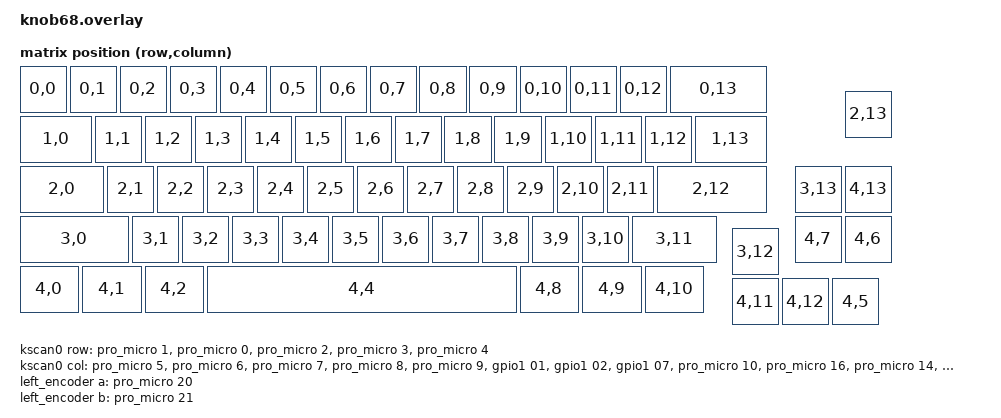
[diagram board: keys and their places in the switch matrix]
/*
 * Copyright (c) 2020 The ZMK Contributors
 *
 * SPDX-License-Identifier: MIT
 */

#include <dt-bindings/zmk/matrix_transform.h>
#include <physical_layouts.dtsi>

/ {
    chosen {
        zmk,kscan = &kscan0;
		zmk,physical-layout = &knob68_layout;
    };

    // Physical layout for ZMK Studio. Key order must match the transform map
    // below. Units are 1/100 keyunit; geometry is a close approximation.
    knob68_layout: knob68_layout {
        compatible = "zmk,physical-layout";
        display-name = "Knob68";
        transform = <&default_transform>;

        keys  //                     w   h    x    y   rot  rx  ry
            = <&key_physical_attrs 100 100    0    0    0    0   0>
            , <&key_physical_attrs 100 100  100    0    0    0   0>
            , <&key_physical_attrs 100 100  200    0    0    0   0>
            , <&key_physical_attrs 100 100  300    0    0    0   0>
            , <&key_physical_attrs 100 100  400    0    0    0   0>
            , <&key_physical_attrs 100 100  500    0    0    0   0>
            , <&key_physical_attrs 100 100  600    0    0    0   0>
            , <&key_physical_attrs 100 100  700    0    0    0   0>
            , <&key_physical_attrs 100 100  800    0    0    0   0>
            , <&key_physical_attrs 100 100  900    0    0    0   0>
            , <&key_physical_attrs 100 100 1000    0    0    0   0>
            , <&key_physical_attrs 100 100 1100    0    0    0   0>
            , <&key_physical_attrs 100 100 1200    0    0    0   0>
            , <&key_physical_attrs 200 100 1300    0    0    0   0>
            , <&key_physical_attrs 100 100 1650   50    0    0   0>
            , <&key_physical_attrs 150 100    0  100    0    0   0>
            , <&key_physical_attrs 100 100  150  100    0    0   0>
            , <&key_physical_attrs 100 100  250  100    0    0   0>
            , <&key_physical_attrs 100 100  350  100    0    0   0>
            , <&key_physical_attrs 100 100  450  100    0    0   0>
            , <&key_physical_attrs 100 100  550  100    0    0   0>
            , <&key_physical_attrs 100 100  650  100    0    0   0>
            , <&key_physical_attrs 100 100  750  100    0    0   0>
            , <&key_physical_attrs 100 100  850  100    0    0   0>
            , <&key_physical_attrs 100 100  950  100    0    0   0>
            , <&key_physical_attrs 100 100 1050  100    0    0   0>
            , <&key_physical_attrs 100 100 1150  100    0    0   0>
            , <&key_physical_attrs 100 100 1250  100    0    0   0>
            , <&key_physical_attrs 150 100 1350  100    0    0   0>
            , <&key_physical_attrs 175 100    0  200    0    0   0>
            , <&key_physical_attrs 100 100  175  200    0    0   0>
            , <&key_physical_attrs 100 100  275  200    0    0   0>
            , <&key_physical_attrs 100 100  375  200    0    0   0>
            , <&key_physical_attrs 100 100  475  200    0    0   0>
            , <&key_physical_attrs 100 100  575  200    0    0   0>
            , <&key_physical_attrs 100 100  675  200    0    0   0>
            , <&key_physical_attrs 100 100  775  200    0    0   0>
            , <&key_physical_attrs 100 100  875  200    0    0   0>
            , <&key_physical_attrs 100 100  975  200    0    0   0>
            , <&key_physical_attrs 100 100 1075  200    0    0   0>
            , <&key_physical_attrs 100 100 1175  200    0    0   0>
            , <&key_physical_attrs 225 100 1275  200    0    0   0>
            , <&key_physical_attrs 100 100 1550  200    0    0   0>
            , <&key_physical_attrs 100 100 1650  200    0    0   0>
            , <&key_physical_attrs 225 100    0  300    0    0   0>
            , <&key_physical_attrs 100 100  225  300    0    0   0>
            , <&key_physical_attrs 100 100  325  300    0    0   0>
            , <&key_physical_attrs 100 100  425  300    0    0   0>
            , <&key_physical_attrs 100 100  525  300    0    0   0>
            , <&key_physical_attrs 100 100  625  300    0    0   0>
            , <&key_physical_attrs 100 100  725  300    0    0   0>
            , <&key_physical_attrs 100 100  825  300    0    0   0>
            , <&key_physical_attrs 100 100  925  300    0    0   0>
            , <&key_physical_attrs 100 100 1025  300    0    0   0>
            , <&key_physical_attrs 100 100 1125  300    0    0   0>
            , <&key_physical_attrs 175 100 1225  300    0    0   0>
            , <&key_physical_attrs 100 100 1425  325    0    0   0>
            , <&key_physical_attrs 100 100 1550  300    0    0   0>
            , <&key_physical_attrs 100 100 1650  300    0    0   0>
            , <&key_physical_attrs 125 100    0  400    0    0   0>
            , <&key_physical_attrs 125 100  125  400    0    0   0>
            , <&key_physical_attrs 125 100  250  400    0    0   0>
            , <&key_physical_attrs 625 100  375  400    0    0   0>
            , <&key_physical_attrs 125 100 1000  400    0    0   0>
            , <&key_physical_attrs 125 100 1125  400    0    0   0>
            , <&key_physical_attrs 125 100 1250  400    0    0   0>
            , <&key_physical_attrs 100 100 1425  425    0    0   0>
            , <&key_physical_attrs 100 100 1525  425    0    0   0>
            , <&key_physical_attrs 100 100 1625  425    0    0   0>
            ;
    };
	
	kscan0: kscan_0 {
        compatible = "zmk,kscan-gpio-matrix";
        label = "KSCAN";
        diode-direction = "col2row";

        col-gpios
            = <&pro_micro 5 GPIO_ACTIVE_HIGH> // col 0
            , <&pro_micro 6 GPIO_ACTIVE_HIGH> // col 1
            , <&pro_micro 7 GPIO_ACTIVE_HIGH> // col 2
            , <&pro_micro 8 GPIO_ACTIVE_HIGH> // col 3
            , <&pro_micro 9 GPIO_ACTIVE_HIGH> // col 4
            , <&gpio1 01 (GPIO_ACTIVE_HIGH | GPIO_PULL_DOWN)> // col 5
            , <&gpio1 02 (GPIO_ACTIVE_HIGH | GPIO_PULL_DOWN)>  // col 6
            , <&gpio1 07 (GPIO_ACTIVE_HIGH | GPIO_PULL_DOWN)> // col 7
			, <&pro_micro 10 GPIO_ACTIVE_HIGH> // col 8
			, <&pro_micro 16 GPIO_ACTIVE_HIGH>// col 9
            , <&pro_micro 14 GPIO_ACTIVE_HIGH> // col 10
            , <&pro_micro 15 GPIO_ACTIVE_HIGH> // col 11
            , <&pro_micro 18 GPIO_ACTIVE_HIGH> // col 12
            , <&pro_micro 19 GPIO_ACTIVE_HIGH> // col 13
            ;

        row-gpios
            = <&pro_micro 1 (GPIO_ACTIVE_HIGH | GPIO_PULL_DOWN)> // row 0
            , <&pro_micro 0 (GPIO_ACTIVE_HIGH | GPIO_PULL_DOWN)> // row 1
            , <&pro_micro 2 (GPIO_ACTIVE_HIGH | GPIO_PULL_DOWN)> // row 2
            , <&pro_micro 3 (GPIO_ACTIVE_HIGH | GPIO_PULL_DOWN)> // row 3
            , <&pro_micro 4 (GPIO_ACTIVE_HIGH | GPIO_PULL_DOWN)> // row 4
            ;
    };
	
    default_transform: keymap_transform_0 {
        compatible = "zmk,matrix-transform";
        columns = <15>;
        rows = <5>;
// 69 key positions: a 65% base plus a right-hand cluster column and the encoder push.
// The cluster keys are wired on spare matrix positions, hence the out-of-order RC() refs.
// ---------------------------------------------------------------------------------------------------------
// | 0,0  | 0,1 | 0,2 | 0,3 | 0,4 | 0,5 | 0,6 | 0,7 | 0,8 | 0,9 | 0,10 | 0,11 | 0,12 | 0,13  || KNOB: 2,13 |
// | 1,0   | 1,1 | 1,2 | 1,3 | 1,4 | 1,5 | 1,6 | 1,7 | 1,8 | 1,9 | 1,10 | 1,11 | 1,12 | 1,13 |
// | 2,0    | 2,1 | 2,2 | 2,3 | 2,4 | 2,5 | 2,6 | 2,7 | 2,8 | 2,9 | 2,10 | 2,11 |    2,12    || 3,13 | 4,13 |
// | 3,0      | 3,1 | 3,2 | 3,3 | 3,4 | 3,5 | 3,6 | 3,7 | 3,8 | 3,9 | 3,10 | 3,11 | 3,12 || 4,7  | 4,6  |
// | 4,0  | 4,1  | 4,2  |              4,4               | 4,8  | 4,9  | 4,10 |  4,11 | 4,12  | 4,5  |
        map = <
RC(0,0) RC(0,1) RC(0,2) RC(0,3)  RC(0,4) RC(0,5) RC(0,6) RC(0,7) RC(0,8) RC(0,9) RC(0,10) RC(0,11) RC(0,12) RC(0,13) RC(2,13)
RC(1,0) RC(1,1) RC(1,2) RC(1,3)  RC(1,4) RC(1,5) RC(1,6) RC(1,7) RC(1,8) RC(1,9) RC(1,10) RC(1,11) RC(1,12) RC(1,13) 
RC(2,0) RC(2,1) RC(2,2) RC(2,3)  RC(2,4) RC(2,5) RC(2,6) RC(2,7) RC(2,8) RC(2,9) RC(2,10) RC(2,11) RC(2,12) RC(3,13) RC(4,13)
RC(3,0) RC(3,1) RC(3,2)  RC(3,3) RC(3,4) RC(3,5) RC(3,6) RC(3,7) RC(3,8) RC(3,9) RC(3,10) RC(3,11) RC(3,12) RC(4,7) RC(4,6)
RC(4,0) RC(4,1) RC(4,2) RC(4,4) RC(4,8) RC(4,9) RC(4,10) RC(4,11) RC(4,12) RC(4,5)
        >;
    };
	
	left_encoder: encoder_left {
        compatible = "alps,ec11";
        label = "LEFT_ENCODER";
        a-gpios = <&pro_micro 20 (GPIO_ACTIVE_HIGH | GPIO_PULL_UP)>;
        b-gpios = <&pro_micro 21 (GPIO_ACTIVE_HIGH | GPIO_PULL_UP)>;
        steps = <32>;
		status = "okay";
    };
		
	sensors {
		compatible = "zmk,keymap-sensors";
        sensors = <&left_encoder>;
	triggers-per-rotation = <32>;
    };
};
